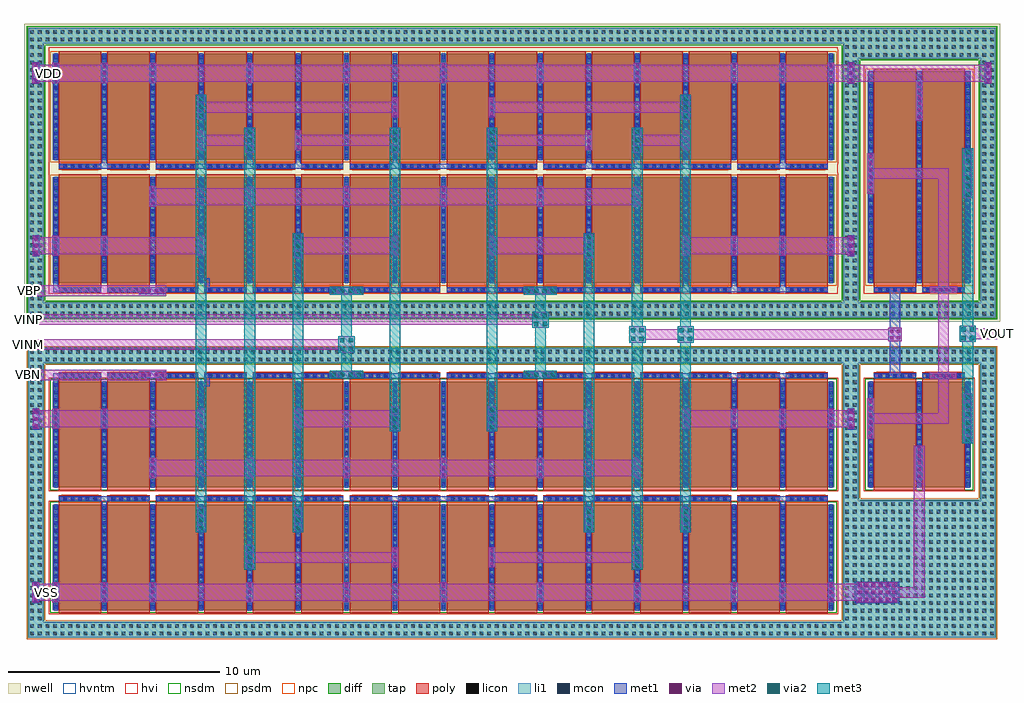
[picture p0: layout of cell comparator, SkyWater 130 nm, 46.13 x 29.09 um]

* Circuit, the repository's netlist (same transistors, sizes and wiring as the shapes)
** sch_path: /home/design/dev/design/comparator_pushpull/schematic/comparator.sch
.subckt comparator VINP VINM VBN VBP VDD VSS VOUT
*.PININFO VINP:I VINM:I VBN:I VBP:I VDD:B VSS:B VOUT:O
XM1 net3 VINM net1 VSS sky130_fd_pr__nfet_g5v0d10v5 L=2 W=5 nf=1 ad='int((nf+1)/2) * W/nf * 0.29' as='int((nf+2)/2) * W/nf * 0.29'
+ pd='2*int((nf+1)/2) * (W/nf + 0.29)' ps='2*int((nf+2)/2) * (W/nf + 0.29)' nrd='0.29 / W' nrs='0.29 / W'
+ sa=0 sb=0 sd=0 mult=4 m=4
XM2 net2 VINP net1 VSS sky130_fd_pr__nfet_g5v0d10v5 L=2 W=5 nf=1 ad='int((nf+1)/2) * W/nf * 0.29' as='int((nf+2)/2) * W/nf * 0.29'
+ pd='2*int((nf+1)/2) * (W/nf + 0.29)' ps='2*int((nf+2)/2) * (W/nf + 0.29)' nrd='0.29 / W' nrs='0.29 / W'
+ sa=0 sb=0 sd=0 mult=4 m=4
XM3 net1 VBN VSS VSS sky130_fd_pr__nfet_g5v0d10v5 L=2 W=5 nf=1 ad='int((nf+1)/2) * W/nf * 0.29' as='int((nf+2)/2) * W/nf * 0.29'
+ pd='2*int((nf+1)/2) * (W/nf + 0.29)' ps='2*int((nf+2)/2) * (W/nf + 0.29)' nrd='0.29 / W' nrs='0.29 / W'
+ sa=0 sb=0 sd=0 mult=2 m=2
XM4 net4 net4 VSS VSS sky130_fd_pr__nfet_g5v0d10v5 L=2 W=5 nf=1 ad='int((nf+1)/2) * W/nf * 0.29' as='int((nf+2)/2) * W/nf * 0.29'
+ pd='2*int((nf+1)/2) * (W/nf + 0.29)' ps='2*int((nf+2)/2) * (W/nf + 0.29)' nrd='0.29 / W' nrs='0.29 / W'
+ sa=0 sb=0 sd=0 mult=2 m=2
XM5 VOUTANALOG net4 VSS VSS sky130_fd_pr__nfet_g5v0d10v5 L=2 W=5 nf=1 ad='int((nf+1)/2) * W/nf * 0.29'
+ as='int((nf+2)/2) * W/nf * 0.29' pd='2*int((nf+1)/2) * (W/nf + 0.29)' ps='2*int((nf+2)/2) * (W/nf + 0.29)'
+ nrd='0.29 / W' nrs='0.29 / W' sa=0 sb=0 sd=0 mult=2 m=2
XM6 net3 net3 VDD VDD sky130_fd_pr__pfet_g5v0d10v5 L=2 W=5 nf=1 ad='int((nf+1)/2) * W/nf * 0.29' as='int((nf+2)/2) * W/nf * 0.29'
+ pd='2*int((nf+1)/2) * (W/nf + 0.29)' ps='2*int((nf+2)/2) * (W/nf + 0.29)' nrd='0.29 / W' nrs='0.29 / W'
+ sa=0 sb=0 sd=0 mult=2 m=2
XM7 net2 net2 VDD VDD sky130_fd_pr__pfet_g5v0d10v5 L=2 W=5 nf=1 ad='int((nf+1)/2) * W/nf * 0.29' as='int((nf+2)/2) * W/nf * 0.29'
+ pd='2*int((nf+1)/2) * (W/nf + 0.29)' ps='2*int((nf+2)/2) * (W/nf + 0.29)' nrd='0.29 / W' nrs='0.29 / W'
+ sa=0 sb=0 sd=0 mult=2 m=2
XM8 net4 net3 VDD VDD sky130_fd_pr__pfet_g5v0d10v5 L=2 W=5 nf=1 ad='int((nf+1)/2) * W/nf * 0.29' as='int((nf+2)/2) * W/nf * 0.29'
+ pd='2*int((nf+1)/2) * (W/nf + 0.29)' ps='2*int((nf+2)/2) * (W/nf + 0.29)' nrd='0.29 / W' nrs='0.29 / W'
+ sa=0 sb=0 sd=0 mult=2 m=2
XM9 VOUTANALOG net2 VDD VDD sky130_fd_pr__pfet_g5v0d10v5 L=2 W=5 nf=1 ad='int((nf+1)/2) * W/nf * 0.29'
+ as='int((nf+2)/2) * W/nf * 0.29' pd='2*int((nf+1)/2) * (W/nf + 0.29)' ps='2*int((nf+2)/2) * (W/nf + 0.29)'
+ nrd='0.29 / W' nrs='0.29 / W' sa=0 sb=0 sd=0 mult=2 m=2
XM10 net6 VINM net5 VDD sky130_fd_pr__pfet_g5v0d10v5 L=2 W=5 nf=1 ad='int((nf+1)/2) * W/nf * 0.29' as='int((nf+2)/2) * W/nf * 0.29'
+ pd='2*int((nf+1)/2) * (W/nf + 0.29)' ps='2*int((nf+2)/2) * (W/nf + 0.29)' nrd='0.29 / W' nrs='0.29 / W'
+ sa=0 sb=0 sd=0 mult=4 m=4
XM11 net7 VINP net5 VDD sky130_fd_pr__pfet_g5v0d10v5 L=2 W=5 nf=1 ad='int((nf+1)/2) * W/nf * 0.29' as='int((nf+2)/2) * W/nf * 0.29'
+ pd='2*int((nf+1)/2) * (W/nf + 0.29)' ps='2*int((nf+2)/2) * (W/nf + 0.29)' nrd='0.29 / W' nrs='0.29 / W'
+ sa=0 sb=0 sd=0 mult=4 m=4
XM12 net5 VBP VDD VDD sky130_fd_pr__pfet_g5v0d10v5 L=2 W=5 nf=1 ad='int((nf+1)/2) * W/nf * 0.29' as='int((nf+2)/2) * W/nf * 0.29'
+ pd='2*int((nf+1)/2) * (W/nf + 0.29)' ps='2*int((nf+2)/2) * (W/nf + 0.29)' nrd='0.29 / W' nrs='0.29 / W'
+ sa=0 sb=0 sd=0 mult=2 m=2
XM13 net8 net8 VDD VDD sky130_fd_pr__pfet_g5v0d10v5 L=2 W=5 nf=1 ad='int((nf+1)/2) * W/nf * 0.29' as='int((nf+2)/2) * W/nf * 0.29'
+ pd='2*int((nf+1)/2) * (W/nf + 0.29)' ps='2*int((nf+2)/2) * (W/nf + 0.29)' nrd='0.29 / W' nrs='0.29 / W'
+ sa=0 sb=0 sd=0 mult=2 m=2
XM14 VOUTANALOG net8 VDD VDD sky130_fd_pr__pfet_g5v0d10v5 L=2 W=5 nf=1 ad='int((nf+1)/2) * W/nf * 0.29'
+ as='int((nf+2)/2) * W/nf * 0.29' pd='2*int((nf+1)/2) * (W/nf + 0.29)' ps='2*int((nf+2)/2) * (W/nf + 0.29)'
+ nrd='0.29 / W' nrs='0.29 / W' sa=0 sb=0 sd=0 mult=2 m=2
XM15 net6 net6 VSS VSS sky130_fd_pr__nfet_g5v0d10v5 L=2 W=5 nf=1 ad='int((nf+1)/2) * W/nf * 0.29' as='int((nf+2)/2) * W/nf * 0.29'
+ pd='2*int((nf+1)/2) * (W/nf + 0.29)' ps='2*int((nf+2)/2) * (W/nf + 0.29)' nrd='0.29 / W' nrs='0.29 / W'
+ sa=0 sb=0 sd=0 mult=2 m=2
XM16 net7 net7 VSS VSS sky130_fd_pr__nfet_g5v0d10v5 L=2 W=5 nf=1 ad='int((nf+1)/2) * W/nf * 0.29' as='int((nf+2)/2) * W/nf * 0.29'
+ pd='2*int((nf+1)/2) * (W/nf + 0.29)' ps='2*int((nf+2)/2) * (W/nf + 0.29)' nrd='0.29 / W' nrs='0.29 / W'
+ sa=0 sb=0 sd=0 mult=2 m=2
XM17 net8 net6 VSS VSS sky130_fd_pr__nfet_g5v0d10v5 L=2 W=5 nf=1 ad='int((nf+1)/2) * W/nf * 0.29' as='int((nf+2)/2) * W/nf * 0.29'
+ pd='2*int((nf+1)/2) * (W/nf + 0.29)' ps='2*int((nf+2)/2) * (W/nf + 0.29)' nrd='0.29 / W' nrs='0.29 / W'
+ sa=0 sb=0 sd=0 mult=2 m=2
XM18 VOUTANALOG net7 VSS VSS sky130_fd_pr__nfet_g5v0d10v5 L=2 W=5 nf=1 ad='int((nf+1)/2) * W/nf * 0.29'
+ as='int((nf+2)/2) * W/nf * 0.29' pd='2*int((nf+1)/2) * (W/nf + 0.29)' ps='2*int((nf+2)/2) * (W/nf + 0.29)'
+ nrd='0.29 / W' nrs='0.29 / W' sa=0 sb=0 sd=0 mult=2 m=2
XM19 net9 VOUTANALOG VDD VDD sky130_fd_pr__pfet_g5v0d10v5 L=2 W=10 nf=1 ad='int((nf+1)/2) * W/nf * 0.29'
+ as='int((nf+2)/2) * W/nf * 0.29' pd='2*int((nf+1)/2) * (W/nf + 0.29)' ps='2*int((nf+2)/2) * (W/nf + 0.29)'
+ nrd='0.29 / W' nrs='0.29 / W' sa=0 sb=0 sd=0 mult=1 m=1
XM20 net9 VOUTANALOG VSS VSS sky130_fd_pr__nfet_g5v0d10v5 L=2 W=5 nf=1 ad='int((nf+1)/2) * W/nf * 0.29'
+ as='int((nf+2)/2) * W/nf * 0.29' pd='2*int((nf+1)/2) * (W/nf + 0.29)' ps='2*int((nf+2)/2) * (W/nf + 0.29)'
+ nrd='0.29 / W' nrs='0.29 / W' sa=0 sb=0 sd=0 mult=1 m=1
XM21 VOUT net9 VDD VDD sky130_fd_pr__pfet_g5v0d10v5 L=2 W=10 nf=1 ad='int((nf+1)/2) * W/nf * 0.29' as='int((nf+2)/2) * W/nf * 0.29'
+ pd='2*int((nf+1)/2) * (W/nf + 0.29)' ps='2*int((nf+2)/2) * (W/nf + 0.29)' nrd='0.29 / W' nrs='0.29 / W'
+ sa=0 sb=0 sd=0 mult=1 m=1
XM22 VOUT net9 VSS VSS sky130_fd_pr__nfet_g5v0d10v5 L=2 W=5 nf=1 ad='int((nf+1)/2) * W/nf * 0.29' as='int((nf+2)/2) * W/nf * 0.29'
+ pd='2*int((nf+1)/2) * (W/nf + 0.29)' ps='2*int((nf+2)/2) * (W/nf + 0.29)' nrd='0.29 / W' nrs='0.29 / W'
+ sa=0 sb=0 sd=0 mult=1 m=1
XM23 net1 VSS VSS VSS sky130_fd_pr__nfet_g5v0d10v5 L=2 W=5 nf=1 ad='int((nf+1)/2) * W/nf * 0.29' as='int((nf+2)/2) * W/nf * 0.29'
+ pd='2*int((nf+1)/2) * (W/nf + 0.29)' ps='2*int((nf+2)/2) * (W/nf + 0.29)' nrd='0.29 / W' nrs='0.29 / W'
+ sa=0 sb=0 sd=0 mult=2 m=2
XM24 net5 VDD VDD VDD sky130_fd_pr__pfet_g5v0d10v5 L=2 W=5 nf=1 ad='int((nf+1)/2) * W/nf * 0.29' as='int((nf+2)/2) * W/nf * 0.29'
+ pd='2*int((nf+1)/2) * (W/nf + 0.29)' ps='2*int((nf+2)/2) * (W/nf + 0.29)' nrd='0.29 / W' nrs='0.29 / W'
+ sa=0 sb=0 sd=0 mult=2 m=2
XM25 VSS VSS VSS VSS sky130_fd_pr__nfet_g5v0d10v5 L=2 W=5 nf=1 ad='int((nf+1)/2) * W/nf * 0.29' as='int((nf+2)/2) * W/nf * 0.29'
+ pd='2*int((nf+1)/2) * (W/nf + 0.29)' ps='2*int((nf+2)/2) * (W/nf + 0.29)' nrd='0.29 / W' nrs='0.29 / W'
+ sa=0 sb=0 sd=0 mult=8 m=8
XM26 VDD VDD VDD VDD sky130_fd_pr__pfet_g5v0d10v5 L=2 W=5 nf=1 ad='int((nf+1)/2) * W/nf * 0.29' as='int((nf+2)/2) * W/nf * 0.29'
+ pd='2*int((nf+1)/2) * (W/nf + 0.29)' ps='2*int((nf+2)/2) * (W/nf + 0.29)' nrd='0.29 / W' nrs='0.29 / W'
+ sa=0 sb=0 sd=0 mult=8 m=8
.ends
.end

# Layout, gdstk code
import gdstk
lib = gdstk.Library(unit=1e-6, precision=1e-09)
def R(c, l, rs):  # rectangles x0, y0, x1, y1
    for r in rs: c.add(gdstk.rectangle(r[:2], r[2:], *l))
def A(c, l, x, y, w, h, nx, ny, dx, dy):  # array of equal rectangles
    R(c, l, [(x+i*dx, y+j*dy, x+i*dx+w, y+j*dy+h) for i in range(nx) for j in range(ny)])
nwell = (64, 20)
diff = (65, 20)
tap = (65, 44)
poly = (66, 20)
licon = (66, 44)
li1 = (67, 20)
mcon = (67, 44)
met1 = (68, 20)
via = (68, 44)
met2 = (69, 20)
via2 = (69, 44)
met3 = (70, 20)
hvi = (75, 20)
nsdm = (93, 44)
psdm = (94, 20)
npc = (95, 20)
hvntm = (125, 20)

sky130_fd_pr__nfet_g5v0d = lib.new_cell('sky130_fd_pr__nfet_g5v0d10v5_CPGY2R')
R(sky130_fd_pr__nfet_g5v0d, diff, [(-2.435,-2.655,2.435,2.345)])
R(sky130_fd_pr__nfet_g5v0d, poly, [(-2.145,-2.785,-0.145,2.785), (0.145,-2.785,2.145,2.785)])
A(sky130_fd_pr__nfet_g5v0d, licon, -2.375, -2.45, 0.17, 0.17, 3, 14, 2.29, 0.34)
A(sky130_fd_pr__nfet_g5v0d, licon, -1.91, 2.535, 0.17, 0.17, 5, 1, 0.34, 0)
A(sky130_fd_pr__nfet_g5v0d, licon, 0.38, 2.535, 0.17, 0.17, 5, 1, 0.34, 0)
A(sky130_fd_pr__nfet_g5v0d, li1, -2.375, -2.675, 0.17, 5.04, 3, 1, 2.29, 0)
R(sky130_fd_pr__nfet_g5v0d, li1, [(-2.145,2.535,-0.145,2.705), (0.145,2.535,2.145,2.705)])
A(sky130_fd_pr__nfet_g5v0d, mcon, -2.375, -2.58, 0.17, 0.17, 3, 14, 2.29, 0.36)
A(sky130_fd_pr__nfet_g5v0d, mcon, -1.95, 2.535, 0.17, 0.17, 5, 1, 0.36, 0)
A(sky130_fd_pr__nfet_g5v0d, mcon, 0.34, 2.535, 0.17, 0.17, 5, 1, 0.36, 0)
A(sky130_fd_pr__nfet_g5v0d, met1, -2.405, -2.655, 0.23, 5, 3, 1, 2.29, 0)
R(sky130_fd_pr__nfet_g5v0d, met1, [(-2.125,2.505,-0.165,2.735), (0.165,2.505,2.125,2.735)])
R(sky130_fd_pr__nfet_g5v0d, hvi, [(-2.62,-2.84,2.62,2.53)])
R(sky130_fd_pr__nfet_g5v0d, nsdm, [(-2.56,-2.78,2.56,2.47)])
R(sky130_fd_pr__nfet_g5v0d, npc, [(-2.01,2.435,-0.28,2.805), (0.28,2.435,2.01,2.805)])
R(sky130_fd_pr__nfet_g5v0d, hvntm, [(-2.62,-2.84,2.62,2.53)])

c__unnamed_ = lib.new_cell('(UNNAMED)')
c__unnamed_.add(gdstk.Reference(sky130_fd_pr__nfet_g5v0d, (2.435,2.785)))

contact = lib.new_cell('contact')
R(contact, tap, [(-19.645,-0.385,19.645,0.385)])
A(contact, licon, -19.525, -0.265, 0.17, 0.17, 109, 2, 0.36, 0.36)
R(contact, li1, [(-19.605,-0.345,19.605,0.345)])

sky130_fd_pr__pfet_g5v0d = lib.new_cell('sky130_fd_pr__pfet_g5v0d10v5_HHVYFP')
R(sky130_fd_pr__pfet_g5v0d, nwell, [(-2.615,-2.82,2.615,2.99)])
R(sky130_fd_pr__pfet_g5v0d, diff, [(-2.435,-2.32,2.435,2.68)])
R(sky130_fd_pr__pfet_g5v0d, poly, [(-2.145,-2.805,-0.145,2.81), (0.145,-2.805,2.145,2.81)])
A(sky130_fd_pr__pfet_g5v0d, licon, -1.91, -2.725, 0.17, 0.17, 5, 1, 0.34, 0)
A(sky130_fd_pr__pfet_g5v0d, licon, 0.38, -2.725, 0.17, 0.17, 5, 1, 0.34, 0)
A(sky130_fd_pr__pfet_g5v0d, licon, -2.375, -2.115, 0.17, 0.17, 3, 14, 2.29, 0.34)
A(sky130_fd_pr__pfet_g5v0d, li1, -2.375, -2.34, 0.17, 5.04, 3, 1, 2.29, 0)
R(sky130_fd_pr__pfet_g5v0d, li1, [(-2.145,-2.725,-0.145,-2.555), (0.145,-2.725,2.145,-2.555)])
A(sky130_fd_pr__pfet_g5v0d, mcon, -1.95, -2.725, 0.17, 0.17, 5, 1, 0.36, 0)
A(sky130_fd_pr__pfet_g5v0d, mcon, 0.34, -2.725, 0.17, 0.17, 5, 1, 0.36, 0)
A(sky130_fd_pr__pfet_g5v0d, mcon, -2.375, -2.245, 0.17, 0.17, 3, 14, 2.29, 0.36)
A(sky130_fd_pr__pfet_g5v0d, met1, -2.405, -2.32, 0.23, 5, 3, 1, 2.29, 0)
R(sky130_fd_pr__pfet_g5v0d, met1, [(-2.125,-2.755,-0.165,-2.525), (0.165,-2.755,2.125,-2.525)])
R(sky130_fd_pr__pfet_g5v0d, hvi, [(-2.615,-2.82,2.615,-2.505), (-2.62,-2.505,2.62,2.865), (-2.615,2.865,2.615,2.99)])
R(sky130_fd_pr__pfet_g5v0d, psdm, [(-2.56,-2.445,2.56,2.805)])
R(sky130_fd_pr__pfet_g5v0d, npc, [(-2.01,-2.825,-0.28,-2.455), (0.28,-2.825,2.01,-2.455)])

c__unnamed__4 = lib.new_cell('(UNNAMED)$4')
c__unnamed__4.add(gdstk.Reference(sky130_fd_pr__pfet_g5v0d, (2.615,2.82)))

contact_8 = lib.new_cell('contact$8')
R(contact_8, met2, [(-0.385,-0.385,0.385,0.385)])
R(contact_8, via2, [(-0.3,-0.3,-0.1,-0.1), (0.1,-0.3,0.3,-0.1), (-0.3,0.1,-0.1,0.3), (0.1,0.1,0.3,0.3)])
R(contact_8, met3, [(-0.385,-0.385,0.385,0.385)])

contact_15 = lib.new_cell('contact$15')
R(contact_15, met1, [(-0.32,-0.32,0.32,0.32)])
R(contact_15, via, [(-0.235,-0.235,-0.085,-0.085), (0.085,-0.235,0.235,-0.085), (-0.235,0.085,-0.085,0.235), (0.085,0.085,0.235,0.235)])
R(contact_15, met2, [(-0.32,-0.32,0.32,0.32)])

contact_5 = lib.new_cell('contact$5')
R(contact_5, tap, [(-3.625,-0.385,3.625,0.385)])
A(contact_5, licon, -3.505, -0.265, 0.17, 0.17, 20, 2, 0.36, 0.36)
R(contact_5, li1, [(-3.585,-0.345,3.585,0.345)])

c_sky130_fd_pr__pfet_g5v0d = lib.new_cell('sky130_fd_pr__pfet_g5v0d10v5_75WSHY')
R(c_sky130_fd_pr__pfet_g5v0d, nwell, [(-1.47,-5.32,1.47,5.49)])
R(c_sky130_fd_pr__pfet_g5v0d, diff, [(-1.29,-4.82,1.29,5.18)])
R(c_sky130_fd_pr__pfet_g5v0d, poly, [(-1,-5.305,1,5.31)])
A(c_sky130_fd_pr__pfet_g5v0d, licon, -0.765, -5.225, 0.17, 0.17, 5, 1, 0.34, 0)
A(c_sky130_fd_pr__pfet_g5v0d, licon, -1.23, -4.665, 0.17, 0.17, 1, 29, 0, 0.34)
A(c_sky130_fd_pr__pfet_g5v0d, licon, 1.06, -4.665, 0.17, 0.17, 1, 29, 0, 0.34)
R(c_sky130_fd_pr__pfet_g5v0d, li1, [(-1,-5.225,1,-5.055), (-1.23,-4.84,-1.06,5.2), (1.06,-4.84,1.23,5.2)])
A(c_sky130_fd_pr__pfet_g5v0d, mcon, -0.805, -5.225, 0.17, 0.17, 5, 1, 0.36, 0)
A(c_sky130_fd_pr__pfet_g5v0d, mcon, -1.23, -4.585, 0.17, 0.17, 1, 27, 0, 0.36)
A(c_sky130_fd_pr__pfet_g5v0d, mcon, 1.06, -4.585, 0.17, 0.17, 1, 27, 0, 0.36)
R(c_sky130_fd_pr__pfet_g5v0d, met1, [(-0.98,-5.255,0.98,-5.025), (-1.26,-4.82,-1.03,5.18), (1.03,-4.82,1.26,5.18)])
R(c_sky130_fd_pr__pfet_g5v0d, hvi, [(-1.47,-5.32,1.47,-5.005), (-1.475,-5.005,1.475,5.365), (-1.47,5.365,1.47,5.49)])
R(c_sky130_fd_pr__pfet_g5v0d, psdm, [(-1.415,-4.945,1.415,5.305)])
R(c_sky130_fd_pr__pfet_g5v0d, npc, [(-0.865,-5.325,0.865,-4.955)])

c__unnamed__2 = lib.new_cell('(UNNAMED)$2')
c__unnamed__2.add(gdstk.Reference(c_sky130_fd_pr__pfet_g5v0d, (1.47,5.165)))

contact_7 = lib.new_cell('contact$7')
R(contact_7, met1, [(-0.64,-0.16,0.64,0.16)])
A(contact_7, via, -0.555, -0.075, 0.15, 0.15, 4, 1, 0.32, 0)
R(contact_7, met2, [(-0.64,-0.16,0.64,0.16)])

contact_9 = lib.new_cell('contact$9')
R(contact_9, met2, [(-0.785,-0.185,0.785,0.185)])
A(contact_9, via2, -0.7, -0.1, 0.2, 0.2, 4, 1, 0.4, 0)
R(contact_9, met3, [(-0.785,-0.185,0.785,0.185)])

contact_10 = lib.new_cell('contact$10')
R(contact_10, met1, [(-0.16,-0.48,0.16,0.48)])
A(contact_10, via, -0.075, -0.395, 0.15, 0.15, 1, 3, 0, 0.32)
R(contact_10, met2, [(-0.16,-0.48,0.16,0.48)])

contact_11 = lib.new_cell('contact$11')
R(contact_11, li1, [(-0.165,-0.525,0.165,0.525)])
A(contact_11, mcon, -0.085, -0.445, 0.17, 0.17, 1, 3, 0, 0.36)
R(contact_11, met1, [(-0.145,-0.505,0.145,0.505)])

contact_14 = lib.new_cell('contact$14')
R(contact_14, met2, [(-0.185,-0.585,0.185,0.585)])
A(contact_14, via2, -0.1, -0.5, 0.2, 0.2, 1, 3, 0, 0.4)
R(contact_14, met3, [(-0.185,-0.585,0.185,0.585)])

contact_3 = lib.new_cell('contact$3')
R(contact_3, tap, [(-3.625,-0.745,3.625,0.745)])
A(contact_3, licon, -3.505, -0.625, 0.17, 0.17, 20, 4, 0.36, 0.36)
R(contact_3, li1, [(-3.585,-0.705,3.585,0.705)])

contact_1 = lib.new_cell('contact$1')
R(contact_1, tap, [(-0.385,-6.865,0.385,6.865)])
A(contact_1, licon, -0.265, -6.745, 0.17, 0.17, 1, 38, 0, 0.36)
A(contact_1, licon, 0.095, -6.745, 0.17, 0.17, 1, 38, 0, 0.36)
R(contact_1, li1, [(-0.345,-6.825,0.345,6.825)])

contact_16 = lib.new_cell('contact$16')
R(contact_16, met1, [(-0.16,-0.96,0.16,0.96)])
A(contact_16, via, -0.075, -0.875, 0.15, 0.15, 1, 6, 0, 0.32)
R(contact_16, met2, [(-0.16,-0.96,0.16,0.96)])

contact_17 = lib.new_cell('contact$17')
R(contact_17, met2, [(-0.185,-1.185,0.185,1.185)])
A(contact_17, via2, -0.1, -1.1, 0.2, 0.2, 1, 6, 0, 0.4)
R(contact_17, met3, [(-0.185,-1.185,0.185,1.185)])

contact_6 = lib.new_cell('contact$6')
R(contact_6, tap, [(-3.625,-3.265,3.625,3.265)])
A(contact_6, licon, -3.505, -3.145, 0.17, 0.17, 20, 18, 0.36, 0.36)
R(contact_6, li1, [(-3.585,-3.225,3.585,3.225)])

c_sky130_fd_pr__nfet_g5v0d = lib.new_cell('sky130_fd_pr__nfet_g5v0d10v5_CD2923')
R(c_sky130_fd_pr__nfet_g5v0d, diff, [(-1.29,-2.655,1.29,2.345)])
R(c_sky130_fd_pr__nfet_g5v0d, poly, [(-1,-2.785,1,2.785)])
A(c_sky130_fd_pr__nfet_g5v0d, licon, -1.23, -2.45, 0.17, 0.17, 1, 14, 0, 0.34)
A(c_sky130_fd_pr__nfet_g5v0d, licon, 1.06, -2.45, 0.17, 0.17, 1, 14, 0, 0.34)
A(c_sky130_fd_pr__nfet_g5v0d, licon, -0.765, 2.535, 0.17, 0.17, 5, 1, 0.34, 0)
R(c_sky130_fd_pr__nfet_g5v0d, li1, [(-1.23,-2.675,-1.06,2.365), (1.06,-2.675,1.23,2.365), (-1,2.535,1,2.705)])
A(c_sky130_fd_pr__nfet_g5v0d, mcon, -1.23, -2.58, 0.17, 0.17, 1, 14, 0, 0.36)
A(c_sky130_fd_pr__nfet_g5v0d, mcon, 1.06, -2.58, 0.17, 0.17, 1, 14, 0, 0.36)
A(c_sky130_fd_pr__nfet_g5v0d, mcon, -0.805, 2.535, 0.17, 0.17, 5, 1, 0.36, 0)
R(c_sky130_fd_pr__nfet_g5v0d, met1, [(-1.26,-2.655,-1.03,2.345), (1.03,-2.655,1.26,2.345), (-0.98,2.505,0.98,2.735)])
R(c_sky130_fd_pr__nfet_g5v0d, hvi, [(-1.475,-2.84,1.475,2.53)])
R(c_sky130_fd_pr__nfet_g5v0d, nsdm, [(-1.415,-2.78,1.415,2.47)])
R(c_sky130_fd_pr__nfet_g5v0d, npc, [(-0.865,2.435,0.865,2.805)])
R(c_sky130_fd_pr__nfet_g5v0d, hvntm, [(-1.475,-2.84,1.475,2.53)])

c__unnamed__3 = lib.new_cell('(UNNAMED)$3')
c__unnamed__3.add(gdstk.Reference(c_sky130_fd_pr__nfet_g5v0d, (1.29,2.785)))

contact_19 = lib.new_cell('contact$19')
R(contact_19, met1, [(-0.16,-0.8,0.16,0.8)])
A(contact_19, via, -0.075, -0.715, 0.15, 0.15, 1, 5, 0, 0.32)
R(contact_19, met2, [(-0.16,-0.8,0.16,0.8)])

contact_12 = lib.new_cell('contact$12')
R(contact_12, met1, [(-0.96,-0.48,0.96,0.48)])
A(contact_12, via, -0.875, -0.395, 0.15, 0.15, 6, 3, 0.32, 0.32)
R(contact_12, met2, [(-0.96,-0.48,0.96,0.48)])

contact_13 = lib.new_cell('contact$13')
R(contact_13, li1, [(-1.065,-0.525,1.065,0.525)])
A(contact_13, mcon, -0.985, -0.445, 0.17, 0.17, 6, 3, 0.36, 0.36)
R(contact_13, met1, [(-1.045,-0.505,1.045,0.505)])

comparator = lib.new_cell('comparator')
R(comparator, nwell, [(-1.18,-1.515,44.95,12.575)])
R(comparator, nsdm, [(-1.06,-1.395,38.35,-0.505), (38.35,-1.395,44.83,-0.505), (-1.06,-0.505,-0.17,11.565), (37.46,-0.505,38.35,11.565), (43.94,-0.505,44.83,11.565), (38.35,10.85,44.83,12.455), (-1.06,11.565,38.35,12.455)])
R(comparator, psdm, [(-1.06,-16.51,38.35,-15.62), (38.35,-16.51,44.83,-9.86), (-1.06,-15.62,-0.17,-3.55), (37.46,-15.62,38.35,-3.55), (43.94,-15.62,44.83,-3.55), (-1.06,-3.55,38.35,-2.66), (38.35,-3.55,44.83,-2.66)])
comparator.add(gdstk.FlexPath([(2.615,6.155),(2.615,5.835)], 0.23, ends="flush", simple_path=True, layer=68, datatype=20))  # met1
comparator.add(gdstk.FlexPath([(34.675,6.155),(34.675,5.835)], 0.23, ends="flush", simple_path=True, layer=68, datatype=20))  # met1
comparator.add(gdstk.FlexPath([(34.675,0.325),(34.675,0.005)], 0.23, ends="flush", simple_path=True, layer=68, datatype=20))  # met1
comparator.add(gdstk.FlexPath([(32.385,0.325),(32.385,0.005)], 0.23, ends="flush", simple_path=True, layer=68, datatype=20))  # met1
comparator.add(gdstk.FlexPath([(30.095,0.325),(30.095,0)], 0.23, ends="flush", simple_path=True, layer=68, datatype=20))  # met1
comparator.add(gdstk.FlexPath([(0.325,0.325),(0.325,0.005),(0.49,0.005)], 0.23, ends="flush", simple_path=True, layer=68, datatype=20))  # met1
comparator.add(gdstk.FlexPath([(7.475,0.12),(7.475,0.44),(7.31,0.44)], 0.23, ends="flush", simple_path=True, layer=68, datatype=20))  # met1
comparator.add(gdstk.FlexPath([(11.61,0.005),(11.94,0.005)], 0.23, ends="flush", simple_path=True, layer=68, datatype=20))  # met1
comparator.add(gdstk.FlexPath([(13.9,0.005),(14.23,0.005)], 0.23, ends="flush", simple_path=True, layer=68, datatype=20))  # met1
comparator.add(gdstk.FlexPath([(16.19,0.005),(16.52,0.005)], 0.23, ends="flush", simple_path=True, layer=68, datatype=20))  # met1
comparator.add(gdstk.FlexPath([(20.77,0.005),(21.1,0.005)], 0.23, ends="flush", simple_path=True, layer=68, datatype=20))  # met1
comparator.add(gdstk.FlexPath([(23.06,0.005),(23.39,0.005)], 0.23, ends="flush", simple_path=True, layer=68, datatype=20))  # met1
comparator.add(gdstk.FlexPath([(25.35,0.005),(25.68,0.005)], 0.23, ends="flush", simple_path=True, layer=68, datatype=20))  # met1
comparator.add(gdstk.FlexPath([(7.03,5.835),(7.36,5.835)], 0.23, ends="flush", simple_path=True, layer=68, datatype=20))  # met1
comparator.add(gdstk.FlexPath([(11.61,5.835),(11.94,5.835)], 0.23, ends="flush", simple_path=True, layer=68, datatype=20))  # met1
comparator.add(gdstk.FlexPath([(16.19,5.835),(16.52,5.835)], 0.23, ends="flush", simple_path=True, layer=68, datatype=20))  # met1
comparator.add(gdstk.FlexPath([(20.77,5.835),(21.1,5.835)], 0.23, ends="flush", simple_path=True, layer=68, datatype=20))  # met1
comparator.add(gdstk.FlexPath([(25.35,5.835),(25.68,5.835)], 0.23, ends="flush", simple_path=True, layer=68, datatype=20))  # met1
comparator.add(gdstk.FlexPath([(29.93,5.835),(30.26,5.835)], 0.23, ends="flush", simple_path=True, layer=68, datatype=20))  # met1
comparator.add(gdstk.FlexPath([(34.51,5.835),(34.84,5.835)], 0.23, ends="flush", simple_path=True, layer=68, datatype=20))  # met1
comparator.add(gdstk.FlexPath([(2.45,5.835),(2.78,5.835)], 0.23, ends="flush", simple_path=True, layer=68, datatype=20))  # met1
comparator.add(gdstk.FlexPath([(7.03,-9.87),(7.36,-9.87)], 0.23, ends="flush", simple_path=True, layer=68, datatype=20))  # met1
comparator.add(gdstk.FlexPath([(11.61,-9.87),(11.94,-9.87)], 0.23, ends="flush", simple_path=True, layer=68, datatype=20))  # met1
comparator.add(gdstk.FlexPath([(16.19,-9.87),(16.52,-9.87)], 0.23, ends="flush", simple_path=True, layer=68, datatype=20))  # met1
comparator.add(gdstk.FlexPath([(20.77,-9.87),(21.1,-9.87)], 0.23, ends="flush", simple_path=True, layer=68, datatype=20))  # met1
comparator.add(gdstk.FlexPath([(25.35,-9.87),(25.68,-9.87)], 0.23, ends="flush", simple_path=True, layer=68, datatype=20))  # met1
comparator.add(gdstk.FlexPath([(29.93,-9.87),(30.26,-9.87)], 0.23, ends="flush", simple_path=True, layer=68, datatype=20))  # met1
comparator.add(gdstk.FlexPath([(34.51,-9.87),(34.84,-9.87)], 0.23, ends="flush", simple_path=True, layer=68, datatype=20))  # met1
comparator.add(gdstk.FlexPath([(2.45,-9.87),(2.78,-9.87)], 0.23, ends="flush", simple_path=True, layer=68, datatype=20))  # met1
comparator.add(gdstk.FlexPath([(4.74,-4.06),(5.07,-4.06)], 0.23, ends="flush", simple_path=True, layer=68, datatype=20))  # met1
comparator.add(gdstk.FlexPath([(11.61,-4.06),(11.94,-4.06)], 0.23, ends="flush", simple_path=True, layer=68, datatype=20))  # met1
comparator.add(gdstk.FlexPath([(16.19,-4.06),(16.52,-4.06)], 0.23, ends="flush", simple_path=True, layer=68, datatype=20))  # met1
comparator.add(gdstk.FlexPath([(20.77,-4.06),(21.1,-4.06)], 0.23, ends="flush", simple_path=True, layer=68, datatype=20))  # met1
comparator.add(gdstk.FlexPath([(25.35,-4.06),(25.68,-4.06)], 0.23, ends="flush", simple_path=True, layer=68, datatype=20))  # met1
comparator.add(gdstk.FlexPath([(29.93,-4.06),(30.26,-4.06)], 0.23, ends="flush", simple_path=True, layer=68, datatype=20))  # met1
comparator.add(gdstk.FlexPath([(32.22,-4.06),(32.55,-4.06)], 0.23, ends="flush", simple_path=True, layer=68, datatype=20))  # met1
comparator.add(gdstk.FlexPath([(4.74,0.005),(5.07,0.005)], 0.23, ends="flush", simple_path=True, layer=68, datatype=20))  # met1
comparator.add(gdstk.FlexPath([(13.9,-4.06),(14.23,-4.06)], 0.23, ends="flush", simple_path=True, layer=68, datatype=20))  # met1
comparator.add(gdstk.FlexPath([(23.06,-4.06),(23.39,-4.06)], 0.23, ends="flush", simple_path=True, layer=68, datatype=20))  # met1
comparator.add(gdstk.FlexPath([(34.51,-4.06),(34.84,-4.06)], 0.23, ends="flush", simple_path=True, layer=68, datatype=20))  # met1
comparator.add(gdstk.FlexPath([(29.93,0.005),(30.26,0.005)], 0.23, ends="flush", simple_path=True, layer=68, datatype=20))  # met1
comparator.add(gdstk.FlexPath([(32.22,0.005),(32.55,0.005)], 0.23, ends="flush", simple_path=True, layer=68, datatype=20))  # met1
comparator.add(gdstk.FlexPath([(34.51,0.005),(34.84,0.005)], 0.23, ends="flush", simple_path=True, layer=68, datatype=20))  # met1
comparator.add(gdstk.FlexPath([(34.675,-4.335),(34.675,-4.06)], 0.23, ends="flush", simple_path=True, layer=68, datatype=20))  # met1
comparator.add(gdstk.FlexPath([(32.385,-4.335),(32.385,-4.065)], 0.23, ends="flush", simple_path=True, layer=68, datatype=20))  # met1
comparator.add(gdstk.FlexPath([(30.095,-4.335),(30.095,-4.06)], 0.23, ends="flush", simple_path=True, layer=68, datatype=20))  # met1
comparator.add(gdstk.FlexPath([(7.31,-4.45),(7.475,-4.45),(7.475,-4.175)], 0.23, ends="flush", simple_path=True, layer=68, datatype=20))  # met1
comparator.add(gdstk.FlexPath([(0.325,-4.335),(0.325,-4.06),(0.49,-4.06)], 0.23, ends="flush", simple_path=True, layer=68, datatype=20))  # met1
comparator.add(gdstk.FlexPath([(9.32,5.835),(9.65,5.835)], 0.23, ends="flush", simple_path=True, layer=68, datatype=20))  # met1
comparator.add(gdstk.FlexPath([(18.48,5.835),(18.81,5.835)], 0.23, ends="flush", simple_path=True, layer=68, datatype=20))  # met1
comparator.add(gdstk.FlexPath([(27.64,5.835),(27.97,5.835)], 0.23, ends="flush", simple_path=True, layer=68, datatype=20))  # met1
comparator.add(gdstk.FlexPath([(9.32,-9.87),(9.65,-9.87)], 0.23, ends="flush", simple_path=True, layer=68, datatype=20))  # met1
comparator.add(gdstk.FlexPath([(18.48,-9.87),(18.81,-9.87)], 0.23, ends="flush", simple_path=True, layer=68, datatype=20))  # met1
comparator.add(gdstk.FlexPath([(27.64,-9.87),(27.97,-9.87)], 0.23, ends="flush", simple_path=True, layer=68, datatype=20))  # met1
comparator.add(gdstk.FlexPath([(2.615,-10.145),(2.615,-9.87)], 0.23, ends="flush", simple_path=True, layer=68, datatype=20))  # met1
comparator.add(gdstk.FlexPath([(34.675,-10.145),(34.675,-9.87)], 0.23, ends="flush", simple_path=True, layer=68, datatype=20))  # met1
comparator.add(gdstk.FlexPath([(11.775,-10.145),(11.775,-9.87)], 0.23, ends="flush", simple_path=True, layer=68, datatype=20))  # met1
comparator.add(gdstk.FlexPath([(25.515,-10.145),(25.515,-9.87)], 0.23, ends="flush", simple_path=True, layer=68, datatype=20))  # met1
comparator.add(gdstk.FlexPath([(16.355,6.155),(16.355,5.835)], 0.23, ends="flush", simple_path=True, layer=68, datatype=20))  # met1
comparator.add(gdstk.FlexPath([(25.515,6.155),(25.515,5.835)], 0.23, ends="flush", simple_path=True, layer=68, datatype=20))  # met1
comparator.add(gdstk.FlexPath([(11.775,6.155),(11.775,5.835)], 0.23, ends="flush", simple_path=True, layer=68, datatype=20))  # met1
comparator.add(gdstk.FlexPath([(16.355,-10.145),(16.355,-9.87)], 0.23, ends="flush", simple_path=True, layer=68, datatype=20))  # met1
comparator.add(gdstk.FlexPath([(39.99,0.005),(39.99,-4.065)], 0.5, ends="flush", simple_path=True, layer=68, datatype=20))  # met1
comparator.add(gdstk.FlexPath([(-1.06,-1.41),(23.23,-1.41)], 0.5, ends="flush", simple_path=True, layer=69, datatype=20))  # met2
comparator.add(gdstk.FlexPath([(14.065,-2.585),(-1.06,-2.585)], 0.5, ends="flush", simple_path=True, layer=69, datatype=20))  # met2
comparator.add(gdstk.FlexPath([(4.905,-8.42),(27.805,-8.42)], 0.8, ends="flush", simple_path=True, layer=69, datatype=20))  # met2
comparator.add(gdstk.FlexPath([(7.195,-6.095),(-0.615,-6.095)], 0.8, ends="flush", simple_path=True, layer=69, datatype=20))  # met2
comparator.add(gdstk.FlexPath([(11.775,-6.095),(16.355,-6.095)], 0.8, ends="flush", simple_path=True, layer=69, datatype=20))  # met2
comparator.add(gdstk.FlexPath([(20.935,-6.095),(25.515,-6.095)], 0.8, ends="flush", simple_path=True, layer=69, datatype=20))  # met2
comparator.add(gdstk.FlexPath([(30.095,-6.095),(37.905,-6.095)], 0.8, ends="flush", simple_path=True, layer=69, datatype=20))  # met2
comparator.add(gdstk.FlexPath([(5.545,-4.015),(-1.06,-4.015)], 0.5, ends="flush", simple_path=True, layer=69, datatype=20))  # met2
comparator.add(gdstk.FlexPath([(5.545,-0.04),(-1.06,-0.04)], 0.5, ends="flush", simple_path=True, layer=69, datatype=20))  # met2
comparator.add(gdstk.FlexPath([(4.905,4.41),(27.805,4.41)], 0.8, ends="flush", simple_path=True, layer=69, datatype=20))  # met2
comparator.add(gdstk.FlexPath([(7.195,2.085),(-0.615,2.085)], 0.8, ends="flush", simple_path=True, layer=69, datatype=20))  # met2
comparator.add(gdstk.FlexPath([(11.775,2.085),(16.355,2.085)], 0.8, ends="flush", simple_path=True, layer=69, datatype=20))  # met2
comparator.add(gdstk.FlexPath([(20.935,2.085),(25.515,2.085)], 0.8, ends="flush", simple_path=True, layer=69, datatype=20))  # met2
comparator.add(gdstk.FlexPath([(30.095,2.085),(37.905,2.085)], 0.8, ends="flush", simple_path=True, layer=69, datatype=20))  # met2
comparator.add(gdstk.FlexPath([(-0.615,-14.295),(38.34,-14.295)], 0.8, ends="flush", simple_path=True, layer=69, datatype=20))  # met2
comparator.add(gdstk.FlexPath([(-0.62,10.245),(37.91,10.245)], 0.8, ends="flush", simple_path=True, layer=69, datatype=20))  # met2
comparator.add(gdstk.FlexPath([(16.355,8.63),(7.195,8.63)], 0.5, ends="flush", simple_path=True, layer=69, datatype=20))  # met2
comparator.add(gdstk.FlexPath([(20.94,8.63),(30.095,8.63)], 0.5, ends="flush", simple_path=True, layer=69, datatype=20))  # met2
comparator.add(gdstk.FlexPath([(25.52,7.07),(20.935,7.07)], 0.5, ends="flush", simple_path=True, layer=69, datatype=20))  # met2
comparator.add(gdstk.FlexPath([(11.775,7.07),(16.355,7.07)], 0.5, ends="flush", simple_path=True, layer=69, datatype=20))  # met2
comparator.add(gdstk.FlexPath([(16.355,-12.64),(9.485,-12.64)], 0.5, ends="flush", simple_path=True, layer=69, datatype=20))  # met2
comparator.add(gdstk.FlexPath([(20.935,-12.64),(27.805,-12.64)], 0.5, ends="flush", simple_path=True, layer=69, datatype=20))  # met2
comparator.add(gdstk.FlexPath([(7.195,7.07),(9.49,7.07)], 0.5, ends="flush", simple_path=True, layer=69, datatype=20))  # met2
comparator.add(gdstk.FlexPath([(30.095,7.07),(27.805,7.07)], 0.5, ends="flush", simple_path=True, layer=69, datatype=20))  # met2
comparator.add(gdstk.FlexPath([(27.805,-2.11),(39.985,-2.11)], 0.5, ends="flush", simple_path=True, layer=69, datatype=20))  # met2
comparator.add(gdstk.FlexPath([(37.315,10.245),(44.39,10.245)], 0.8, ends="flush", simple_path=True, layer=69, datatype=20))  # met2
comparator.add(gdstk.FlexPath([(42.28,0.01),(42.28,-4.06)], 0.5, ends="flush", simple_path=True, layer=69, datatype=20))  # met2
comparator.add(gdstk.FlexPath([(42.28,0),(42.28,5.505),(38.84,5.505)], 0.5, ends="flush", simple_path=True, layer=69, datatype=20))  # met2
comparator.add(gdstk.FlexPath([(42.28,-4.06),(42.28,-6.075),(38.845,-6.075)], 0.5, ends="flush", simple_path=True, layer=69, datatype=20))  # met2
comparator.add(gdstk.FlexPath([(41.135,-7.375),(41.135,-14.295),(38.34,-14.295)], 0.5, ends="flush", simple_path=True, layer=69, datatype=20))  # met2
comparator.add(gdstk.FlexPath([(43.425,-2.075),(44.83,-2.075)], 0.5, ends="flush", simple_path=True, layer=69, datatype=20))  # met2
comparator.add(gdstk.FlexPath([(14.065,-3.855),(14.065,-0.2)], 0.5, ends="flush", simple_path=True, layer=70, datatype=20))  # met3
comparator.add(gdstk.FlexPath([(23.23,-0.225),(23.23,-3.83)], 0.5, ends="flush", simple_path=True, layer=70, datatype=20))  # met3
comparator.add(gdstk.FlexPath([(25.515,-11.455),(25.515,2.67)], 0.5, ends="flush", simple_path=True, layer=70, datatype=20))  # met3
comparator.add(gdstk.FlexPath([(11.775,-11.455),(11.775,2.67)], 0.5, ends="flush", simple_path=True, layer=70, datatype=20))  # met3
comparator.add(gdstk.FlexPath([(30.095,-11.455),(30.095,9.215)], 0.5, ends="flush", simple_path=True, layer=70, datatype=20))  # met3
comparator.add(gdstk.FlexPath([(7.195,-11.455),(7.195,9.215)], 0.5, ends="flush", simple_path=True, layer=70, datatype=20))  # met3
comparator.add(gdstk.FlexPath([(16.355,7.655),(16.355,-6.68)], 0.5, ends="flush", simple_path=True, layer=70, datatype=20))  # met3
comparator.add(gdstk.FlexPath([(20.935,7.655),(20.935,-6.68)], 0.5, ends="flush", simple_path=True, layer=70, datatype=20))  # met3
comparator.add(gdstk.FlexPath([(27.805,-13.225),(27.805,7.655)], 0.5, ends="flush", simple_path=True, layer=70, datatype=20))  # met3
comparator.add(gdstk.FlexPath([(9.49,-13.225),(9.49,7.655)], 0.5, ends="flush", simple_path=True, layer=70, datatype=20))  # met3
comparator.add(gdstk.FlexPath([(43.425,-7.26),(43.425,6.69)], 0.5, ends="flush", simple_path=True, layer=70, datatype=20))  # met3
r = gdstk.Reference(c__unnamed_, (0.18,-15.275)); r.repetition = gdstk.Repetition(8, 2, v1=(4.58,0), v2=(0,5.81)); comparator.add(r)
comparator.add(gdstk.Reference(contact, (18.645,-3.105)))
comparator.add(gdstk.Reference(contact, (18.645,-16.065)))
comparator.add(gdstk.Reference(contact, (18.645,12.01)))
comparator.add(gdstk.Reference(contact, (18.645,-0.95)))
r = gdstk.Reference(c__unnamed__4, (0,-0.175)); r.repetition = gdstk.Repetition(8, 2, v1=(4.58,0), v2=(0,5.83)); comparator.add(r)
comparator.add(gdstk.Reference(contact_8, (27.81,-2.11)))
comparator.add(gdstk.Reference(contact_8, (30.095,-2.11)))
comparator.add(gdstk.Reference(contact_15, (39.99,-2.11)))
comparator.add(gdstk.Reference(contact_8, (43.425,-2.075)))
comparator.add(gdstk.Reference(contact_5, (41.145,-0.95)))
comparator.add(gdstk.Reference(c__unnamed__2, (40.81,-0.02)))
comparator.add(gdstk.Reference(contact_7, (23.225,-0.04)))
comparator.add(gdstk.Reference(contact_9, (23.225,-0.04)))
comparator.add(gdstk.Reference(contact_8, (23.23,-1.41)))
comparator.add(gdstk.Reference(contact_10, (23.225,4.41)))
comparator.add(gdstk.Reference(contact_10, (27.805,4.41)))
comparator.add(gdstk.Reference(contact_10, (25.515,2.085)))
comparator.add(gdstk.Reference(contact_10, (30.095,2.085)))
comparator.add(gdstk.Reference(contact_10, (32.385,2.085)))
comparator.add(gdstk.Reference(contact_10, (34.675,2.085)))
comparator.add(gdstk.Reference(contact_10, (36.965,2.085)))
comparator.add(gdstk.Reference(contact_10, (37.905,2.085)))
comparator.add(gdstk.Reference(contact_11, (37.905,2.085)))
comparator.add(gdstk.Reference(contact_10, (23.225,10.245)))
comparator.add(gdstk.Reference(contact_10, (27.805,10.245)))
comparator.add(gdstk.Reference(contact_10, (32.385,10.245)))
comparator.add(gdstk.Reference(contact_10, (36.965,10.245)))
comparator.add(gdstk.Reference(contact_10, (37.91,10.245)))
comparator.add(gdstk.Reference(contact_11, (37.91,10.245)))
comparator.add(gdstk.Reference(contact_14, (25.515,2.085)))
comparator.add(gdstk.Reference(contact_14, (30.095,8.63)))
comparator.add(gdstk.Reference(contact_10, (25.515,7.07)))
comparator.add(gdstk.Reference(contact_10, (30.095,7.07)))
comparator.add(gdstk.Reference(contact_14, (27.805,7.07)))
comparator.add(gdstk.Reference(contact_3, (41.145,11.65)))
comparator.add(gdstk.Reference(c__unnamed__2, (38.52,-0.02)))
comparator.add(gdstk.Reference(contact_1, (44.385,5.53)))
comparator.add(gdstk.Reference(contact_10, (44.385,10.245)))
comparator.add(gdstk.Reference(contact_11, (44.385,10.245)))
comparator.add(gdstk.Reference(contact_16, (41.135,8.955)))
comparator.add(gdstk.Reference(contact_16, (38.845,5.505)))
comparator.add(gdstk.Reference(contact_7, (42.28,0.005)))
comparator.add(gdstk.Reference(contact_16, (43.425,5.505)))
comparator.add(gdstk.Reference(contact_17, (43.425,5.505)))
comparator.add(gdstk.Reference(contact_1, (37.905,5.53)))
comparator.add(gdstk.Reference(contact_10, (34.675,10.245)))
comparator.add(gdstk.Reference(contact_10, (-0.62,10.245)))
comparator.add(gdstk.Reference(contact_10, (2.615,2.085)))
comparator.add(gdstk.Reference(contact_10, (0.325,2.085)))
comparator.add(gdstk.Reference(contact_10, (-0.615,2.085)))
comparator.add(gdstk.Reference(contact_11, (-0.615,2.085)))
comparator.add(gdstk.Reference(contact_11, (-0.62,10.245)))
comparator.add(gdstk.Reference(contact_14, (11.775,2.085)))
comparator.add(gdstk.Reference(contact_10, (11.775,2.085)))
comparator.add(gdstk.Reference(contact_10, (16.355,8.63)))
comparator.add(gdstk.Reference(contact_10, (20.935,8.63)))
comparator.add(gdstk.Reference(contact_14, (7.195,8.63)))
comparator.add(gdstk.Reference(contact_10, (16.355,2.085)))
comparator.add(gdstk.Reference(contact_10, (11.775,7.07)))
comparator.add(gdstk.Reference(contact_10, (20.935,2.085)))
comparator.add(gdstk.Reference(contact_14, (16.355,7.07)))
comparator.add(gdstk.Reference(contact_14, (20.935,7.07)))
comparator.add(gdstk.Reference(contact_10, (7.195,7.07)))
comparator.add(gdstk.Reference(contact_1, (-0.615,5.53)))
comparator.add(gdstk.Reference(contact_14, (9.485,7.07)))
comparator.add(gdstk.Reference(contact_7, (4.905,-0.04)))
comparator.add(gdstk.Reference(contact_10, (9.485,4.41)))
comparator.add(gdstk.Reference(contact_10, (14.065,4.41)))
comparator.add(gdstk.Reference(contact_10, (18.645,4.41)))
comparator.add(gdstk.Reference(contact_9, (14.065,-0.04)))
comparator.add(gdstk.Reference(contact_7, (14.065,-0.04)))
comparator.add(gdstk.Reference(contact_10, (9.485,10.245)))
comparator.add(gdstk.Reference(contact_10, (14.065,10.245)))
comparator.add(gdstk.Reference(contact_10, (18.645,10.245)))
comparator.add(gdstk.Reference(contact_10, (4.905,4.41)))
comparator.add(gdstk.Reference(contact_10, (7.195,2.085)))
comparator.add(gdstk.Reference(contact_10, (4.905,10.245)))
comparator.add(gdstk.Reference(contact_10, (0.325,10.245)))
comparator.add(gdstk.Reference(contact_10, (2.615,10.245)))
comparator.add(gdstk.Reference(contact_9, (14.065,-4.015)))
comparator.add(gdstk.Reference(contact_7, (14.065,-4.015)))
comparator.add(gdstk.Reference(contact_10, (7.195,-10.87)))
comparator.add(gdstk.Reference(contact_14, (7.195,-10.87)))
comparator.add(gdstk.Reference(contact_8, (14.065,-2.585)))
comparator.add(gdstk.Reference(contact_10, (9.485,-8.42)))
comparator.add(gdstk.Reference(contact_10, (9.485,-14.295)))
comparator.add(gdstk.Reference(contact_10, (14.065,-14.295)))
comparator.add(gdstk.Reference(contact_10, (18.645,-14.295)))
comparator.add(gdstk.Reference(contact_10, (4.905,-14.295)))
comparator.add(gdstk.Reference(contact_10, (0.325,-14.295)))
comparator.add(gdstk.Reference(contact_10, (-0.62,-14.295)))
comparator.add(gdstk.Reference(contact_14, (20.935,-6.095)))
comparator.add(gdstk.Reference(contact_14, (16.355,-6.095)))
comparator.add(gdstk.Reference(contact_10, (14.065,-8.42)))
comparator.add(gdstk.Reference(contact_10, (18.645,-8.42)))
comparator.add(gdstk.Reference(contact_10, (4.905,-8.42)))
comparator.add(gdstk.Reference(contact_10, (7.195,-6.095)))
comparator.add(gdstk.Reference(contact_14, (9.485,-12.64)))
comparator.add(gdstk.Reference(contact_10, (20.935,-12.64)))
comparator.add(gdstk.Reference(contact_10, (16.355,-12.64)))
comparator.add(gdstk.Reference(contact_10, (2.615,-6.095)))
comparator.add(gdstk.Reference(contact_10, (0.325,-6.095)))
comparator.add(gdstk.Reference(contact_10, (-0.615,-6.095)))
comparator.add(gdstk.Reference(contact_11, (-0.615,-6.095)))
comparator.add(gdstk.Reference(contact_10, (11.775,-6.095)))
comparator.add(gdstk.Reference(contact_10, (16.355,-6.095)))
comparator.add(gdstk.Reference(contact_10, (20.935,-6.095)))
comparator.add(gdstk.Reference(contact_7, (4.905,-4.015)))
comparator.add(gdstk.Reference(contact_11, (-0.62,-14.295)))
comparator.add(gdstk.Reference(contact_1, (-0.615,-9.585)))
comparator.add(gdstk.Reference(contact_10, (2.615,-14.295)))
comparator.add(gdstk.Reference(contact_10, (11.775,-10.87)))
comparator.add(gdstk.Reference(contact_14, (11.775,-10.87)))
comparator.add(gdstk.Reference(contact_10, (32.385,-6.095)))
comparator.add(gdstk.Reference(contact_10, (34.675,-6.095)))
comparator.add(gdstk.Reference(contact_10, (36.965,-6.095)))
comparator.add(gdstk.Reference(contact_10, (37.905,-6.095)))
comparator.add(gdstk.Reference(contact_11, (37.905,-6.095)))
comparator.add(gdstk.Reference(contact_10, (27.805,-8.42)))
comparator.add(gdstk.Reference(contact_6, (41.145,-13.185)))
comparator.add(gdstk.Reference(contact_1, (37.905,-9.585)))
comparator.add(gdstk.Reference(c__unnamed__3, (40.99,-9.465)))
comparator.add(gdstk.Reference(contact_9, (23.225,-4.015)))
comparator.add(gdstk.Reference(contact_1, (44.385,-9.585)))
comparator.add(gdstk.Reference(contact_7, (23.225,-4.015)))
comparator.add(gdstk.Reference(c__unnamed__3, (38.7,-9.465)))
comparator.add(gdstk.Reference(contact_14, (27.805,-12.64)))
comparator.add(gdstk.Reference(contact_5, (41.145,-3.105)))
comparator.add(gdstk.Reference(contact_10, (34.675,-14.295)))
comparator.add(gdstk.Reference(contact_10, (23.225,-14.295)))
comparator.add(gdstk.Reference(contact_10, (25.515,-10.87)))
comparator.add(gdstk.Reference(contact_14, (25.515,-10.87)))
comparator.add(gdstk.Reference(contact_10, (27.805,-14.295)))
comparator.add(gdstk.Reference(contact_10, (23.225,-8.42)))
comparator.add(gdstk.Reference(contact_10, (25.515,-6.095)))
comparator.add(gdstk.Reference(contact_10, (30.095,-6.095)))
comparator.add(gdstk.Reference(contact_10, (30.095,-10.87)))
comparator.add(gdstk.Reference(contact_16, (38.845,-6.075)))
comparator.add(gdstk.Reference(contact_7, (42.275,-4.06)))
comparator.add(gdstk.Reference(contact_19, (41.135,-8.175)))
comparator.add(gdstk.Reference(contact_14, (30.095,-10.87)))
comparator.add(gdstk.Reference(contact_16, (43.425,-6.075)))
comparator.add(gdstk.Reference(contact_10, (32.385,-14.295)))
comparator.add(gdstk.Reference(contact_17, (43.425,-6.075)))
comparator.add(gdstk.Reference(contact_10, (36.965,-14.295)))
comparator.add(gdstk.Reference(contact_12, (39.135,-14.295)))
comparator.add(gdstk.Reference(contact_13, (39.135,-14.295)))
comparator.add(gdstk.Label('VOUT', (44.81,-2.075), layer=69, texttype=16))
comparator.add(gdstk.Label('VINM', (-0.975,-2.59), layer=69, texttype=16))
comparator.add(gdstk.Label('VINP', (-0.985,-1.415), layer=69, texttype=16))
comparator.add(gdstk.Label('VBP', (-0.905,-0.05), layer=69, texttype=16))
comparator.add(gdstk.Label('VBN', (-0.95,-4.02), layer=69, texttype=16))
comparator.add(gdstk.Label('VSS', (-0.095,-14.285), layer=69, texttype=16))
comparator.add(gdstk.Label('VDD', (-0.045,10.22), layer=69, texttype=16))

lib.write_gds('comparator.gds')
